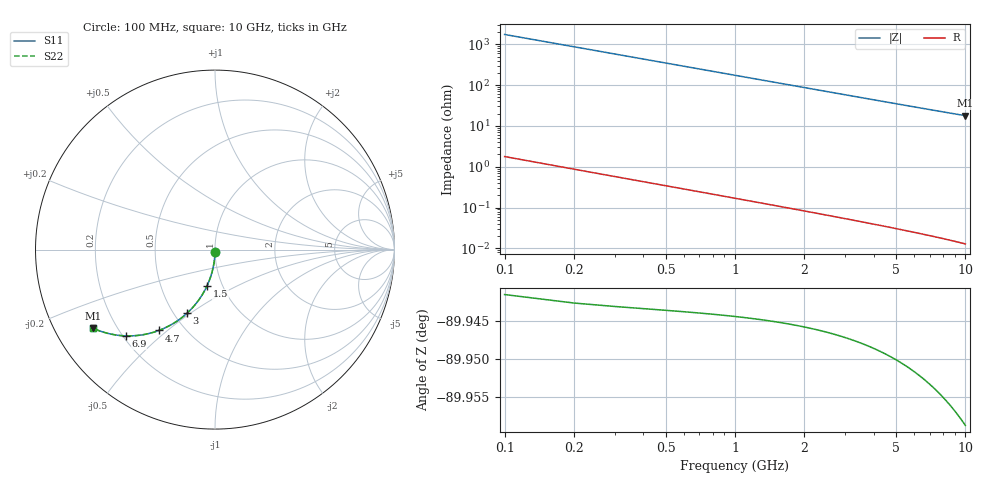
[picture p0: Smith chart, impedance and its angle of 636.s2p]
# Hz S RI R 50.00
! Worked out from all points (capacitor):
!   100 points, 100 MHz to 10 GHz, reference 50 ohm
!   read as one part in shunt: C = 912 fF near 100 MHz
!   lowest |Z| = 17.9 ohm at 10 GHz (marker M1)
!   S11 on the Smith chart (normalised r, x): 100 MHz: 1.00, -0.03; 1.5 GHz: 0.85, -0.36; 3 GHz: 0.58, -0.49; 4.7 GHz: 0.36, -0.47; 6.9 GHz: 0.21, -0.39; 10 GHz: 0.12, -0.29
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1e8  -9.4e-06 -0.0141  0.9996 -0.0146  0.9996 -0.0146  -9.4e-06 -0.0141
2e8  -0.000637 -0.0281  0.9989 -0.0292  0.9989 -0.0292  -0.000637 -0.0281
3e8  -0.00167 -0.0421  0.9979 -0.0437  0.9979 -0.0437  -0.00167 -0.0421
4e8  -0.00312 -0.056  0.9965 -0.0582  0.9965 -0.0582  -0.00312 -0.056
5e8  -0.00496 -0.0699  0.9946 -0.0726  0.9946 -0.0726  -0.00496 -0.0699
6e8  -0.0072 -0.0837  0.9924 -0.087  0.9924 -0.087  -0.0072 -0.0837
7e8  -0.00984 -0.0974  0.9897 -0.1012  0.9897 -0.1012  -0.00984 -0.0974
9e8  -0.0163 -0.1244  0.9833 -0.1293  0.9833 -0.1293  -0.0163 -0.1244
1.2e9  -0.0287 -0.1637  0.9709 -0.1702  0.9709 -0.1702  -0.0287 -0.1637
1.5e9  -0.0441 -0.2014  0.9554 -0.2095  0.9554 -0.2095  -0.0441 -0.2014
1.8e9  -0.0624 -0.237  0.9371 -0.2467  0.9371 -0.2467  -0.0624 -0.237
2.4e9  -0.1059 -0.3011  0.8935 -0.3141  0.8935 -0.3141  -0.1059 -0.3011
3e9  -0.1563 -0.3548  0.8431 -0.3711  0.8431 -0.3711  -0.1563 -0.3548
3.4e9  -0.1924 -0.3847  0.807 -0.4031  0.807 -0.4031  -0.1924 -0.3847
4e9  -0.2481 -0.4208  0.7512 -0.4425  0.7512 -0.4425  -0.2481 -0.4208
4.7e9  -0.3134 -0.4507  0.6858 -0.4763  0.6858 -0.4763  -0.3134 -0.4507
5.1e9  -0.3498 -0.4626  0.6494 -0.4904  0.6494 -0.4904  -0.3498 -0.4626
5.9e9  -0.4191 -0.4769  0.5799 -0.5091  0.5799 -0.5091  -0.4191 -0.4769
6.7e9  -0.4826 -0.4809  0.5162 -0.5175  0.5162 -0.5175  -0.4826 -0.4809
6.9e9  -0.4975 -0.4806  0.5013 -0.5183  0.5013 -0.5183  -0.4975 -0.4806
8.4e9  -0.596 -0.4669  0.4024 -0.513  0.4024 -0.513  -0.596 -0.4669
1e10  -0.678 -0.4387  0.3199 -0.4939  0.3199 -0.4939  -0.678 -0.4387
